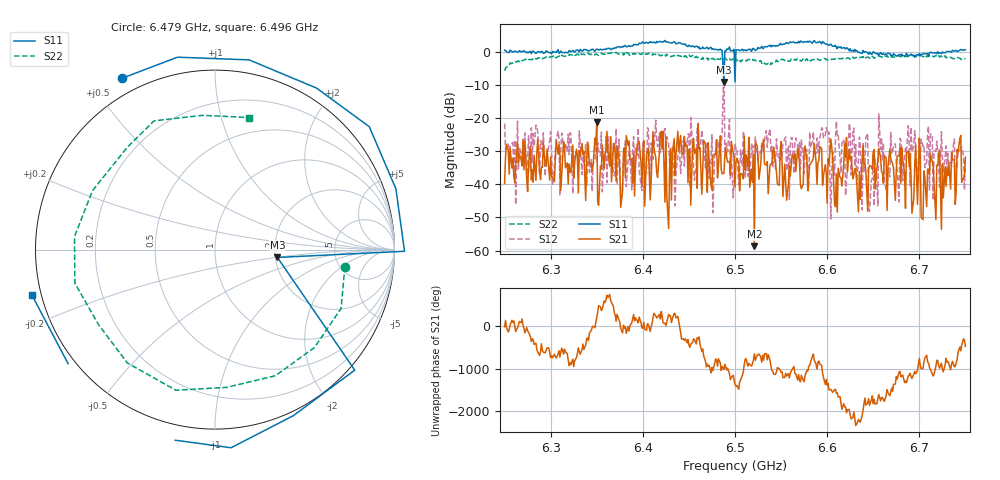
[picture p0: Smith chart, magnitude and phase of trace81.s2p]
# Hz S RI R 50
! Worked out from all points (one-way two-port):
!   401 points, 6.25 GHz to 6.75 GHz, reference 50 ohm
!   highest |S21| = -21.20 dB at 6.35 GHz (marker M1); lowest = -58.7 dB at 6.521 GHz (marker M2)
!   lowest |S11| = -9.1 dB at 6.488 GHz (marker M3), VSWR 2.08, Z = 103 - j10.3 ohm
!   |S11| at or under -10 dB: nowhere
!   |S22| runs from -5.7 to -0.2 dB; largest |S21 - S12| = 0.77
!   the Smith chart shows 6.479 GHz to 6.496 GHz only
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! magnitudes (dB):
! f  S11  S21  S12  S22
! 6.25 GHz  0.6  -39.7  -21.7  -5.7
! 6.334 GHz  0.2  -27.7  -37.0  -0.8
! 6.35 GHz  0.9  -21.2  -33.5  -0.7
! 6.418 GHz  3.2  -30.1  -24.6  -1.1
! 6.429 GHz  2.8  -35.8  -33.6  -1.3
! 6.439 GHz  2.8  -29.8  -27.3  -1.2
! 6.474 GHz  1.4  -40.3  -32.5  -2.0
! 6.488 GHz  -9.1  -36.7  -2.3  -2.2
! 6.5 GHz  -9.1  -40.7  -27.6  -2.1
! 6.521 GHz  0.7  -58.7  -28.9  -2.4
! 6.584 GHz  2.6  -32.9  -27.0  -2.3
! 6.604 GHz  2.3  -26.3  -50.4  -2.4
! 6.61 GHz  1.3  -36.8  -20.9  -2.0
! 6.621 GHz  1.2  -25.9  -39.1  -1.9
! 6.634 GHz  -0.2  -48.3  -32.1  -1.8
! 6.648 GHz  -0.7  -34.6  -38.8  -1.9
! 6.659 GHz  -0.7  -36.2  -25.8  -1.6
! 6.668 GHz  -0.5  -29.4  -37.7  -1.3
! 6.699 GHz  -1.1  -36.5  -39.1  -1.2
! 6.705 GHz  -0.5  -35.9  -28.1  -1.5
! 6.712 GHz  -0.1  -31.0  -24.8  -1.3
! 6.75 GHz  0.7  -31.8  -31.8  -2.2
